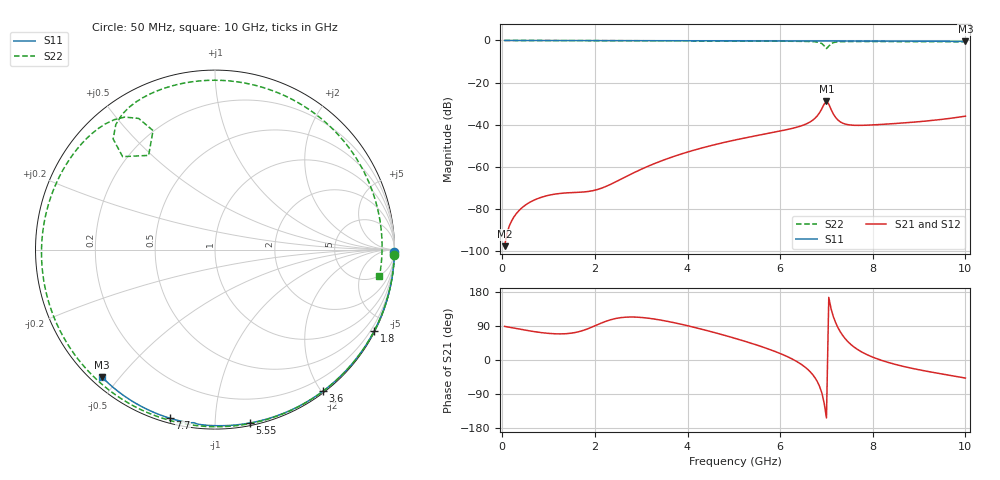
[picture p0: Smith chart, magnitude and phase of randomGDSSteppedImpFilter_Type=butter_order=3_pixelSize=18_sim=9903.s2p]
! freq	dB(S11)	phase(S11)	dB(S12)	phase(S12)
!  dB(S21)	phase(S21)	dB(S22)	phase(S22)
!S-par simulation data
#  GHz  S  DB  R 50
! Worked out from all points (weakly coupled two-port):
!   200 points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, 50 MHz to 10 GHz, reference 50 ohm
!   highest |S21| = -28.99 dB at 7 GHz (marker M1); lowest = -97.8 dB at 50 MHz (marker M2)
!   lowest |S11| = -0.5 dB at 10 GHz (marker M3), VSWR 38.40, Z = 1.57 - j22.5 ohm
!   |S11| at or under -10 dB: nowhere
!   |S22| runs from -3.8 to 0.0 dB; largest |S21 - S12| = 0
!   S11 on the Smith chart (normalised r, x): 50 MHz: open; 1.8 GHz: 0.04, -4.17; 3.6 GHz: 0.02, -2.02; 5.55 GHz: 0.02, -1.22; 7.7 GHz: 0.02, -0.77; 10 GHz: 0.03, -0.45
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0.05  -0.00 -0.8  -97.84 88.7  -97.84 88.7  -0.00 -1.7
0.4  -0.01 -6.1  -80.07 80.7  -80.07 80.7  -0.02 -13.2
0.85  -0.01 -12.8  -74.54 72.2  -74.54 72.2  -0.03 -28.0
1.75  -0.03 -26.2  -72.07 78.2  -72.07 78.2  -0.07 -56.9
1.8  -0.03 -26.9  -71.97 80.3  -71.97 80.3  -0.07 -58.5
2.6  -0.05 -38.6  -65.56 112.3  -65.56 112.3  -0.11 -83.7
3.4  -0.07 -49.9  -57.57 105.8  -57.57 105.8  -0.14 -108.6
3.6  -0.07 -52.7  -55.95 101.2  -55.95 101.2  -0.15 -114.8
4.3  -0.09 -62.3  -51.20 81.5  -51.20 81.5  -0.19 -136.8
5.05  -0.11 -72.2  -47.24 56.3  -47.24 56.3  -0.25 -161.4
5.55  -0.13 -78.7  -45.01 37.3  -45.01 37.3  -0.29 -178.8
6.2  -0.15 -86.9  -42.15 6.3  -42.15 6.3  -0.37 156.5
6.7  -0.18 -93.2  -37.97 -38.2  -37.97 -38.2  -0.57 133.9
6.9  -0.20 -95.7  -32.49 -86.9  -32.49 -86.9  -1.46 120.2
7  -0.25 -96.8  -28.99 -153.0  -28.99 -153.0  -3.85 125.2
7.05  -0.25 -97.2  -30.28 165.2  -30.28 165.2  -2.73 134.8
7.1  -0.23 -97.8  -32.80 135.0  -32.80 135.0  -1.54 132.6
7.3  -0.22 -100.2  -38.75 74.2  -38.75 74.2  -0.60 118.1
7.7  -0.24 -105.0  -40.39 25.6  -40.39 25.6  -0.50 97.3
8.35  -0.29 -112.6  -39.71 -7.0  -39.71 -7.0  -0.53 65.9
9.2  -0.36 -122.4  -38.23 -30.5  -38.23 -30.5  -0.57 25.7
10  -0.45 -131.5  -36.02 -47.7  -36.02 -47.7  -0.65 -9.1
